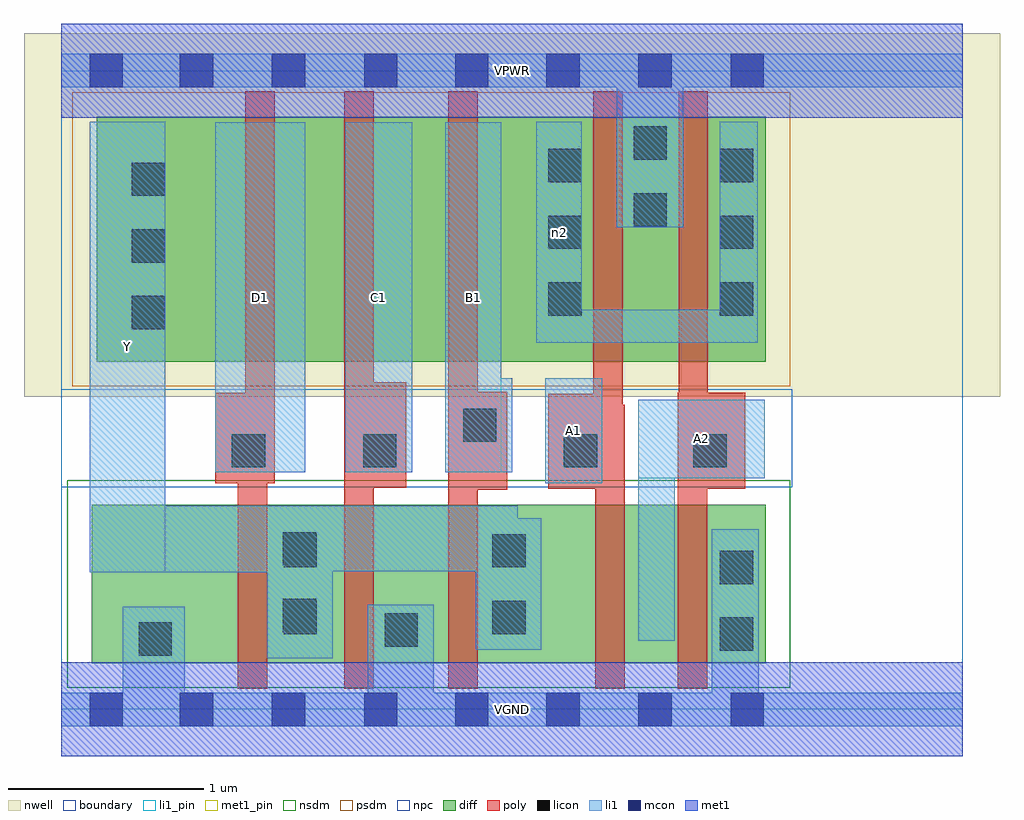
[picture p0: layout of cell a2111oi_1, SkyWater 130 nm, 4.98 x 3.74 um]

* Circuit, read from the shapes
.subckt a2111oi_1 A1 A2 B1 C1 D1 VGND VPWR Y n2
XM1 Y D1 VGND VSUBS sky130_fd_pr__nfet_01v8 w=0.81 l=0.15
XM2 VGND C1 Y VSUBS sky130_fd_pr__nfet_01v8 w=0.81 l=0.15
XM3 Y B1 VGND VSUBS sky130_fd_pr__nfet_01v8 w=0.81 l=0.15
XM4 n1 A1 Y VSUBS sky130_fd_pr__nfet_01v8 w=0.81 l=0.15
XM5 VGND A2 n1 VSUBS sky130_fd_pr__nfet_01v8 w=0.81 l=0.15
XM6 n3 D1 Y n4 sky130_fd_pr__pfet_01v8 w=1.25 l=0.15
XM7 n5 C1 n3 n4 sky130_fd_pr__pfet_01v8 w=1.25 l=0.15
XM8 n2 B1 n5 n4 sky130_fd_pr__pfet_01v8 w=1.25 l=0.15
XM9 VPWR A1 n2 n4 sky130_fd_pr__pfet_01v8 w=1.25 l=0.15
XM10 n2 A2 VPWR n4 sky130_fd_pr__pfet_01v8 w=1.25 l=0.15
.ends

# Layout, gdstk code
import gdstk
lib = gdstk.Library(unit=1e-6, precision=1e-09)
def R(c, l, rs):  # rectangles x0, y0, x1, y1
    for r in rs: c.add(gdstk.rectangle(r[:2], r[2:], *l))
def A(c, l, x, y, w, h, nx, ny, dx, dy):  # array of equal rectangles
    R(c, l, [(x+i*dx, y+j*dy, x+i*dx+w, y+j*dy+h) for i in range(nx) for j in range(ny)])
nwell = (64, 20)
diff = (65, 20)
poly = (66, 20)
licon = (66, 44)
li1_pin = (67, 16)
li1 = (67, 20)
mcon = (67, 44)
met1_pin = (68, 16)
met1 = (68, 20)
nsdm = (93, 44)
psdm = (94, 20)
npc = (95, 20)
boundary = (235, 4)

a2111oi_1 = lib.new_cell('a2111oi_1')
R(a2111oi_1, nwell, [(-0.19,1.595,4.79,3.45), (0,1.595,4.6,3.45)])
R(a2111oi_1, diff, [(0.155,0.235,3.595,1.045), (0.18,1.775,3.595,3.025)])
R(a2111oi_1, poly, [(0.9,0.105,1.05,1.615), (1.445,0.105,1.595,3.155), (1.975,0.105,2.125,3.155), (2.725,0.105,2.875,1.555), (3.145,0.105,3.295,1.615), (1.975,1.12,2.275,1.62), (2.485,1.125,2.865,1.61), (2.715,1.125,2.865,3.155), (3.145,1.125,3.49,1.615), (3.15,1.125,3.3,3.155), (1.445,1.13,1.76,1.67), (0.785,1.155,1.09,1.615), (0.94,1.155,1.09,3.155)])
A(a2111oi_1, licon, 0.36, 1.94, 0.17, 0.17, 1, 3, 0, 0.34)
A(a2111oi_1, licon, 2.485, 2.01, 0.17, 0.17, 1, 3, 0, 0.34)
A(a2111oi_1, licon, 3.36, 2.01, 0.17, 0.17, 1, 3, 0, 0.34)
R(a2111oi_1, licon, [(0.395,0.275,0.565,0.445), (3.36,0.3,3.53,0.47), (1.65,0.32,1.82,0.49), (1.135,0.385,1.305,0.555), (2.2,0.385,2.37,0.555), (1.13,0.395,1.3,0.565), (3.36,0.64,3.53,0.81), (1.135,0.725,1.305,0.895), (2.2,0.725,2.37,0.895), (1.13,0.735,1.3,0.905), (0.87,1.235,1.04,1.405), (1.54,1.235,1.71,1.405), (2.565,1.235,2.735,1.405), (3.225,1.235,3.395,1.405), (2.05,1.365,2.22,1.535), (2.92,2.465,3.09,2.635), (2.92,2.805,3.09,2.975)])
R(a2111oi_1, li1_pin, [(0.145,0.7,0.53,3), (2.47,1.155,2.76,1.69), (2.945,1.18,3.59,1.58), (0.785,1.21,1.245,2.995), (1.45,1.21,1.79,2.995), (1.96,1.21,2.245,2.995)])
R(a2111oi_1, li1, [(0,-0.085,4.6,0.085), (0.315,-0.085,0.63,0.525), (1.565,-0.085,1.9,0.535), (3.32,-0.085,3.56,0.92), (1.05,0.26,1.385,1.04), (2.115,0.305,2.45,0.705), (2.115,0.305,2.33,1.04), (2.945,0.35,3.13,1.58), (0.145,0.7,0.53,3), (0.145,0.7,1.385,1.04), (0.145,0.705,2.115,1.04), (0.145,0.705,2.45,0.975), (2.47,1.155,2.76,1.69), (2.945,1.18,3.59,1.58), (0.785,1.21,1.245,2.995), (1.45,1.21,1.79,2.995), (1.96,1.21,2.245,2.995), (1.96,1.21,2.3,1.69), (2.425,1.87,2.655,3), (2.425,1.87,3.555,2.04), (3.36,1.87,3.555,3), (2.835,2.46,3.175,3.345), (0,3.175,4.6,3.345)])
A(a2111oi_1, mcon, 0.605, -0.085, 0.17, 0.17, 3, 2, 0.47, 3.26)
A(a2111oi_1, mcon, 2.475, -0.085, 0.17, 0.17, 3, 2, 0.47, 3.26)
R(a2111oi_1, mcon, [(0.145,-0.085,0.315,0.085), (2.01,-0.085,2.18,0.085), (0.145,3.175,0.315,3.345), (2.01,3.175,2.18,3.345)])
R(a2111oi_1, met1_pin, [(0,-0.24,4.6,0.24), (0,3.02,4.6,3.5)])
R(a2111oi_1, met1, [(0,-0.24,4.6,0.24), (0,3.02,4.6,3.5)])
R(a2111oi_1, nsdm, [(0.03,0.11,3.72,1.17)])
R(a2111oi_1, psdm, [(0.055,1.65,3.72,3.15)])
R(a2111oi_1, npc, [(0,1.135,3.73,1.635)])
R(a2111oi_1, boundary, [(0,0,4.6,3.26)])
a2111oi_1.add(gdstk.Label('A1', (2.615,1.422), layer=67, texttype=5))
a2111oi_1.add(gdstk.Label('A2', (3.267,1.38), layer=67, texttype=5))
a2111oi_1.add(gdstk.Label('B1', (2.102,2.102), layer=67, texttype=5))
a2111oi_1.add(gdstk.Label('C1', (1.62,2.102), layer=67, texttype=5))
a2111oi_1.add(gdstk.Label('D1', (1.015,2.102), layer=67, texttype=5))
a2111oi_1.add(gdstk.Label('Y', (0.337,1.85), layer=67, texttype=5))
a2111oi_1.add(gdstk.Label('n2', (2.54,2.435), layer=67, texttype=5))
a2111oi_1.add(gdstk.Label('VPWR', (2.3,3.26), layer=68, texttype=5))
a2111oi_1.add(gdstk.Label('VGND', (2.3,0), layer=68, texttype=5))
a2111oi_1.add(gdstk.Label('A1', (2.615,1.422), layer=67, texttype=16))
a2111oi_1.add(gdstk.Label('A2', (3.267,1.38), layer=67, texttype=16))
a2111oi_1.add(gdstk.Label('B1', (2.102,2.102), layer=67, texttype=16))
a2111oi_1.add(gdstk.Label('C1', (1.62,2.102), layer=67, texttype=16))
a2111oi_1.add(gdstk.Label('D1', (1.015,2.102), layer=67, texttype=16))
a2111oi_1.add(gdstk.Label('Y', (0.337,1.85), layer=67, texttype=16))
a2111oi_1.add(gdstk.Label('VPWR', (2.3,3.26), layer=68, texttype=16))
a2111oi_1.add(gdstk.Label('VGND', (2.3,0), layer=68, texttype=16))

lib.write_gds('a2111oi_1.gds')
